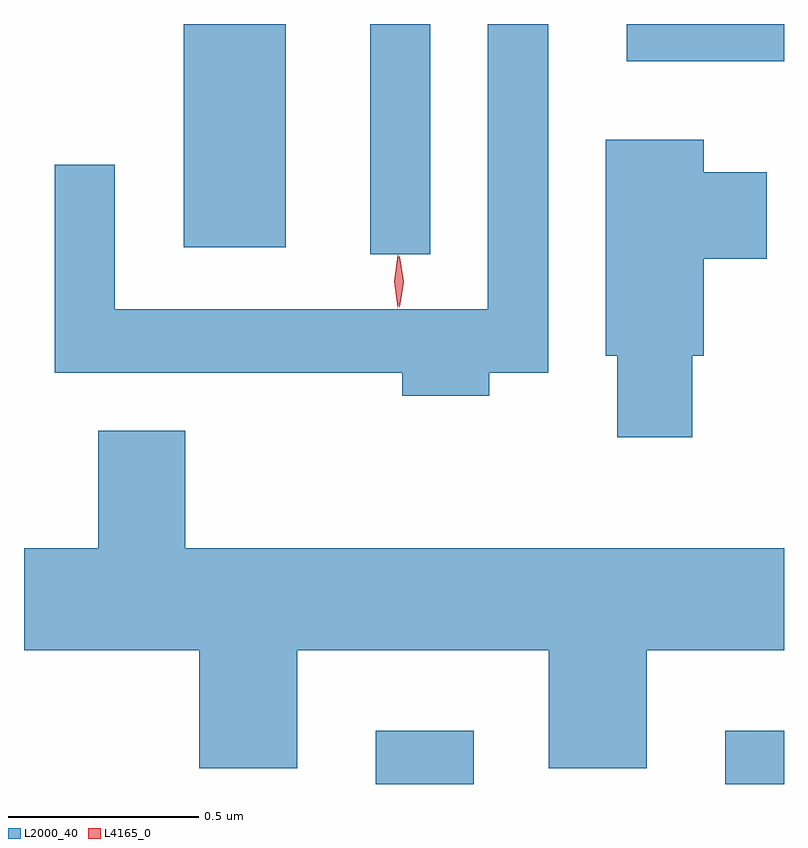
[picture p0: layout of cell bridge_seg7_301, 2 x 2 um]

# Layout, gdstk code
import gdstk
lib = gdstk.Library(unit=1e-6, precision=1e-09)
def R(c, l, rs):  # rectangles x0, y0, x1, y1
    for r in rs: c.add(gdstk.rectangle(r[:2], r[2:], *l))
def P(c, l, *ps):  # polygons
    for p in ps: c.add(gdstk.Polygon(p, *l))
L2000_40 = (2000, 40)
L4165_0 = (4165, 0)

bridge_seg7_301 = lib.new_cell('bridge_seg7_301')
R(bridge_seg7_301, L2000_40, [(1342.421,1778.344,1342.679,1778.484), (1343.341,1778.344,1343.495,1778.484), (1342.406,1779.738,1342.564,1780.344), (1341.916,1779.756,1342.184,1780.344), (1343.081,1780.246,1343.495,1780.344)])
P(bridge_seg7_301, L2000_40, [(1342.719,1779.426),(1342.874,1779.426),(1342.874,1780.344),(1342.716,1780.344),(1342.716,1779.594),(1341.734,1779.594),(1341.734,1779.973),(1341.576,1779.973),(1341.576,1779.426),(1342.491,1779.426),(1342.491,1779.366),(1342.719,1779.366)],
  [(1343.254,1779.471),(1343.284,1779.471),(1343.284,1779.726),(1343.449,1779.726),(1343.449,1779.954),(1343.284,1779.954),(1343.284,1780.039),(1343.026,1780.039),(1343.026,1779.471),(1343.056,1779.471),(1343.056,1779.256),(1343.254,1779.256)],
  [(1342.214,1778.696),(1342.876,1778.696),(1342.876,1778.386),(1343.134,1778.386),(1343.134,1778.696),(1343.495,1778.696),(1343.495,1778.964),(1341.919,1778.964),(1341.919,1779.274),(1341.691,1779.274),(1341.691,1778.964),(1341.495,1778.964),(1341.495,1778.696),(1341.956,1778.696),(1341.956,1778.386),(1342.214,1778.386)])
P(bridge_seg7_301, L4165_0, [(1342.478,1779.597),(1342.469,1779.667),(1342.479,1779.736),(1342.48,1779.736),(1342.48,1779.736),(1342.489,1779.667),(1342.479,1779.597),(1342.479,1779.597)],
  [(1342.484,1779.599),(1342.483,1779.6),(1342.474,1779.666),(1342.483,1779.732),(1342.484,1779.733),(1342.484,1779.732),(1342.494,1779.666),(1342.484,1779.6)])

lib.write_gds('bridge_seg7_301.gds')
